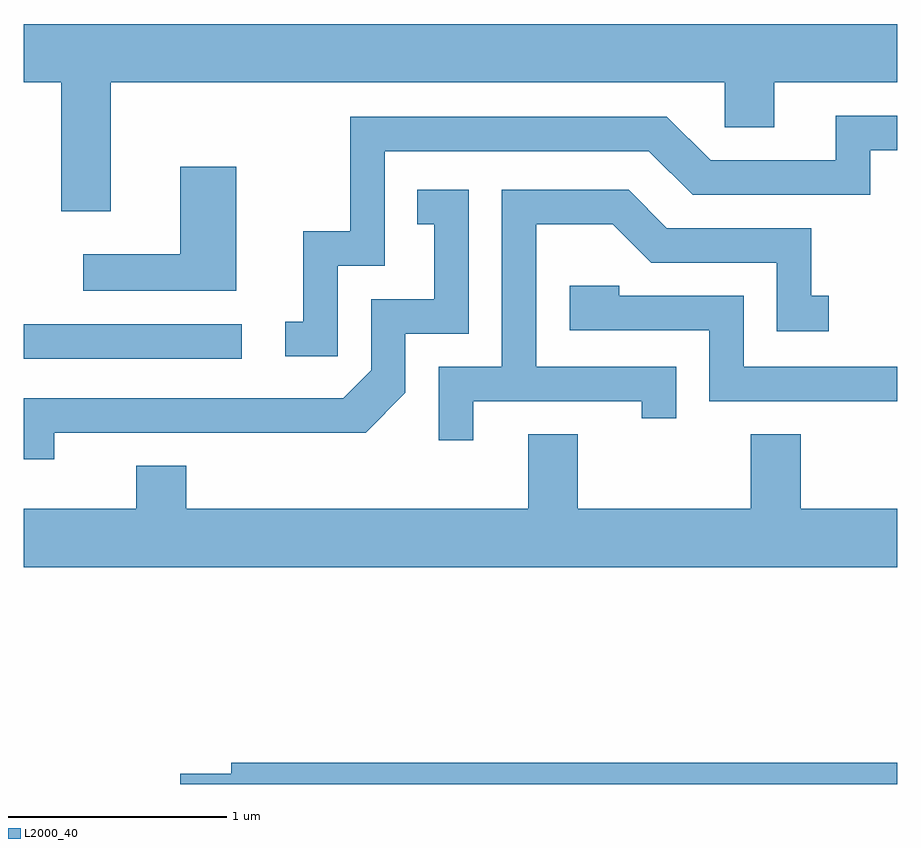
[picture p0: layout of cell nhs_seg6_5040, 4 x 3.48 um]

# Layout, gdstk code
import gdstk
lib = gdstk.Library(unit=1e-6, precision=1e-09)
def R(c, l, rs):  # rectangles x0, y0, x1, y1
    for r in rs: c.add(gdstk.rectangle(r[:2], r[2:], *l))
def P(c, l, *ps):  # polygons
    for p in ps: c.add(gdstk.Polygon(p, *l))
L2000_40 = (2000, 40)

nhs_seg6_5040 = lib.new_cell('nhs_seg6_5040')
R(nhs_seg6_5040, L2000_40, [(339.611,1542.111,340.608,1542.269)])
P(nhs_seg6_5040, L2000_40, [(340.009,1543.376),(342.821,1543.376),(342.821,1543.171),(343.049,1543.171),(343.049,1543.376),(343.611,1543.376),(343.611,1543.644),(339.611,1543.644),(339.611,1543.376),(339.781,1543.376),(339.781,1542.786),(340.009,1542.786)],
  [(341.049,1542.536),(341.264,1542.536),(341.264,1543.061),(342.474,1543.061),(342.674,1542.861),(343.489,1542.861),(343.489,1543.066),(343.611,1543.066),(343.611,1543.224),(343.331,1543.224),(343.331,1543.019),(342.757,1543.019),(342.557,1543.219),(341.106,1543.219),(341.106,1542.694),(340.891,1542.694),(340.891,1542.279),(340.808,1542.279),(340.808,1542.121),(341.049,1542.121)],
  [(340.584,1542.989),(340.326,1542.989),(340.326,1542.589),(339.883,1542.589),(339.883,1542.421),(340.584,1542.421)],
  [(339.749,1541.771),(341.177,1541.771),(341.359,1541.954),(341.359,1542.226),(341.649,1542.226),(341.649,1542.884),(341.413,1542.884),(341.413,1542.726),(341.491,1542.726),(341.491,1542.384),(341.201,1542.384),(341.201,1542.057),(341.074,1541.929),(339.611,1541.929),(339.611,1541.651),(339.749,1541.651)],
  [(341.669,1541.916),(342.441,1541.916),(342.441,1541.838),(342.599,1541.838),(342.599,1542.074),(341.959,1542.074),(341.959,1542.726),(342.309,1542.726),(342.484,1542.551),(343.061,1542.551),(343.061,1542.236),(343.298,1542.236),(343.298,1542.399),(343.219,1542.399),(343.219,1542.709),(342.557,1542.709),(342.382,1542.884),(341.801,1542.884),(341.801,1542.074),(341.511,1542.074),(341.511,1541.738),(341.669,1541.738)],
  [(343.611,1542.074),(342.909,1542.074),(342.909,1542.399),(342.339,1542.399),(342.339,1542.444),(342.111,1542.444),(342.111,1542.241),(342.751,1542.241),(342.751,1541.916),(343.611,1541.916)],
  [(343.611,1541.424),(343.169,1541.424),(343.169,1541.764),(342.941,1541.764),(342.941,1541.424),(342.149,1541.424),(342.149,1541.764),(341.921,1541.764),(341.921,1541.424),(340.354,1541.424),(340.354,1541.619),(340.126,1541.619),(340.126,1541.424),(339.611,1541.424),(339.611,1541.156),(343.611,1541.156)],
  [(343.611,1540.259),(340.561,1540.259),(340.561,1540.209),(340.326,1540.209),(340.326,1540.162),(343.611,1540.162)])

lib.write_gds('nhs_seg6_5040.gds')
